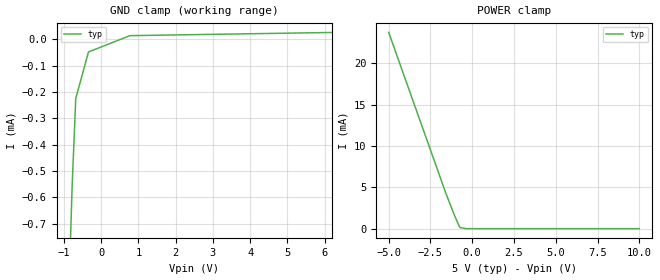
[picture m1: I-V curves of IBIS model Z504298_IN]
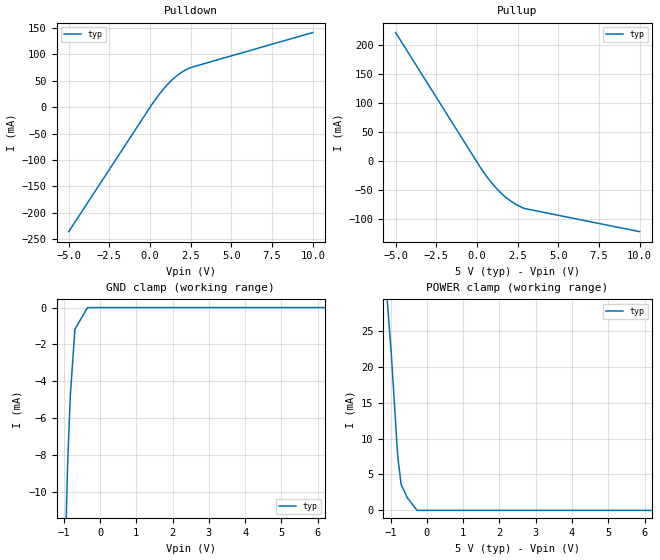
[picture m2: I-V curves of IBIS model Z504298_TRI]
| YOU ARE ONLY AUTHORIZED TO USE THIS SOFTWARE
| ACCORDING TO LICENSOR'S LICENSE RESTRICTIONS.
[IBIS Ver] 3.1
[File Name] mc54hct534j.ibs
[File Rev] 2.0
[Source] Measured and created by ICX Technology
[Date] Friday 7/14/00 9:08:11 AM
[Copyright]
| (C) COPYRIGHT 1993-2000
| MENTOR GRAPHICS CORPORATION
| ICX STANDARD LIBRARY, ICX PROJECT MODELING,
| ICX CUSTOM MODELING, ICX VENDOR MODEL
| ALL RIGHTS RESERVED.
| THE FOLLOWING ARE TRADEMARKS OR SERVICE MARKS OF
| MENTOR GRAPHICS CORPORATION:ICX (R), ICX STANDARD
| LIBRARY(R), ICX PROJECT MODELING(R), ICX CUSTOM
| MODELING(R), qualityIBIS(TM), MODELVIEWER(TM),
| AND MODELEDITOR(TM)
| ALL COPIES OF SOFTWARE, INCLUDING BUT NOT LIMITED TO
| ANY MODIFICATIONS, ENHANCEMENTS OR DERIVATIVE WORKS,
| MUST CONTAIN ALL MENTOR GRAPHICS CORPORATION'S
| NOTICES AND LEGENDS, INCLUDING THOSE EMBEDDED IN
| SOFTWARE AND THOSE AFFIXED TO SOFTWARE MEDIUM
| AND CONTAINER, AS RECEIVED FROM MENTOR GRAPHICS
| CORPORATION.
|  ZAP Model Builder 2.7
[Component] MC54HCT534J
[Manufacturer] OnSemiconductor
[Package]
| variable   typ   min   max
R_pkg  .216ohms NA NA
L_pkg  5.76nH NA NA
C_pkg  2.193pF NA NA
[Pin] signal_name  model_name  R_pin  L_pin C_pin
1 _OE Z504298_IN .232 9.76n 3.179p
2 _Q0 Z504298_TRI .224 7.26n 2.686p
3 D0 Z504298_IN .216 5.26n 2.193p
4 D1 Z504298_IN .208 3.76n 1.7p
5 _Q1 Z504298_TRI .2 2.76n 1.207p
6 _Q2 Z504298_TRI .2 2.76n 1.207p
7 D2 Z504298_IN .208 3.76n 1.7p
8 D3 Z504298_IN .216 5.26n 2.193p
9 _Q3 Z504298_TRI .224 7.26n 2.686p
10 GND GND .232 9.76n 3.179p
11 CLK Z504298_IN .232 9.76n 3.179p
12 _Q4 Z504298_TRI .224 7.26n 2.686p
13 D4 Z504298_IN .216 5.26n 2.193p
14 D5 Z504298_IN .208 3.76n 1.7p
15 _Q5 Z504298_TRI .2 2.76n 1.207p
16 _Q6 Z504298_TRI .2 2.76n 1.207p
17 D6 Z504298_IN .208 3.76n 1.7p
18 D7 Z504298_IN .216 5.26n 2.193p
19 _Q7 Z504298_TRI .224 7.26n 2.686p
20 VCC POWER .232 9.76n 3.179p
| Models and submodels in the file (2): Z504298_IN (Input), Z504298_TRI (3-state)
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| (C) COPYRIGHT 1993-2000
| MENTOR GRAPHICS CORPORATION
| ICX STANDARD LIBRARY, ICX PROJECT MODELING,
| ICX CUSTOM MODELING, ICX VENDOR MODEL
| ALL RIGHTS RESERVED.
| THE FOLLOWING ARE TRADEMARKS OR SERVICE MARKS OF
| MENTOR GRAPHICS CORPORATION:ICX (R), ICX STANDARD
| LIBRARY(R), ICX PROJECT MODELING(R), ICX CUSTOM
| MODELING(R), qualityIBIS(TM), MODELVIEWER(TM),
| AND MODELEDITOR(TM)
| ALL COPIES OF SOFTWARE, INCLUDING BUT NOT LIMITED TO
| ANY MODIFICATIONS, ENHANCEMENTS OR DERIVATIVE WORKS,
| MUST CONTAIN ALL MENTOR GRAPHICS CORPORATION'S
| NOTICES AND LEGENDS, INCLUDING THOSE EMBEDDED IN
| SOFTWARE AND THOSE AFFIXED TO SOFTWARE MEDIUM
| AND CONTAINER, AS RECEIVED FROM MENTOR GRAPHICS
| CORPORATION.
| Model Application Version 1.89 2/18/99.
[Model] Z504298_IN
Model_type Input
Vinl = 800.0mV
Vinh = 2.000V
C_comp 4.000pF NA NA
| variable typ   min   max
[Voltage Range] 5.000V NA NA
[GND Clamp Reference] 0.000V NA NA
[POWER Clamp Reference] 5.000V NA NA
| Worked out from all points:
|   GND clamp passes 1 mA (typ) near -0.88 V on its own axis
[GND Clamp]
-5V       -24.4mA    NA         NA
-1.445V   -3.963mA   NA         NA
-1.029V   -1.704mA   NA         NA
-781.3mV  -559.6uA   NA         NA
-683.6mV  -224.1uA   NA         NA
-341.8mV  -47.56uA   NA         NA
769.8mV   14.53uA    NA         NA
10V       35.09uA    NA         NA
[POWER Clamp]
-5V       23.72mA    NA         NA
-1.584V   4.302mA    NA         NA
-1.055V   1.564mA    NA         NA
-786mV    328.4uA    NA         NA
-727mV    130.8uA    NA         NA
-363.5mV  0A         NA         NA
10V       0A         NA         NA
| (C) COPYRIGHT 1993-2000
| MENTOR GRAPHICS CORPORATION
| ICX STANDARD LIBRARY, ICX PROJECT MODELING,
| ICX CUSTOM MODELING, ICX VENDOR MODEL
| ALL RIGHTS RESERVED.
| THE FOLLOWING ARE TRADEMARKS OR SERVICE MARKS OF
| MENTOR GRAPHICS CORPORATION:ICX (R), ICX STANDARD
| LIBRARY(R), ICX PROJECT MODELING(R), ICX CUSTOM
| MODELING(R), qualityIBIS(TM), MODELVIEWER(TM),
| AND MODELEDITOR(TM)
| ALL COPIES OF SOFTWARE, INCLUDING BUT NOT LIMITED TO
| ANY MODIFICATIONS, ENHANCEMENTS OR DERIVATIVE WORKS,
| MUST CONTAIN ALL MENTOR GRAPHICS CORPORATION'S
| NOTICES AND LEGENDS, INCLUDING THOSE EMBEDDED IN
| SOFTWARE AND THOSE AFFIXED TO SOFTWARE MEDIUM
| AND CONTAINER, AS RECEIVED FROM MENTOR GRAPHICS
| CORPORATION.
| Model Application Version 1.89 2/18/99.
[Model] Z504298_TRI
Model_type 3-state
Vref=0.000V
Rref=500.0Mohms
Cref=50.00pF
Vmeas=1.300V
C_comp 8.000pF NA NA
| variable typ   min   max
[Voltage Range] 5.000V NA NA
[POWER Clamp Reference] 5.000V NA NA
[Pullup Reference] 5.000V NA NA
[Pulldown Reference] 0.000V NA NA
[GND Clamp Reference] 0.000V NA NA
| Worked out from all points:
|   slope of the pulldown table from 0 to 0.75 V, typ, clamps not added: 23.7 ohm
|   slope of the pullup table from 0 to 0.75 V, typ, clamps not added: 24.5 ohm
[GND Clamp]
-5V       -315.5mA   NA         NA
-893.6mV  -8.462mA   NA         NA
-819.8mV  -4.775mA   NA         NA
-693.4mV  -1.183mA   NA         NA
-346.7mV  0A         NA         NA
10V       0A         NA         NA
[Pulldown]
-5V       -235.4mA   NA         NA
102.5mV   4.694mA    NA         NA
502.9mV   21.79mA    NA         NA
1.021V    41.16mA    NA         NA
1.717V    61.23mA    NA         NA
2.124V    69.38mA    NA         NA
2.639V    76.16mA    NA         NA
10V       141.1mA    NA         NA
[Pullup]
-5V       222.4mA    NA         NA
249mV     -12.53mA   NA         NA
652mV     -28.47mA   NA         NA
845mV     -35.45mA   NA         NA
1.153V    -45.67mA   NA         NA
1.46V     -54.64mA   NA         NA
1.774V    -62.52mA   NA         NA
2.144V    -70.26mA   NA         NA
2.476V    -75.87mA   NA         NA
2.888V    -81.61mA   NA         NA
10V       -121.8mA   NA         NA
[POWER Clamp]
-5V       287.8mA    NA         NA
-981mV    21.71mA    NA         NA
-806mV    7.573mA    NA         NA
-713mV    3.635mA    NA         NA
-547mV    1.804mA    NA         NA
-273.5mV  0A         NA         NA
10V       0A         NA         NA
[Ramp]
| variable typ min max
dV/dt_r 2.888/1.660n NA NA
dV/dt_f 2.888/1.426n NA NA
R_load = 500.0Ohms
